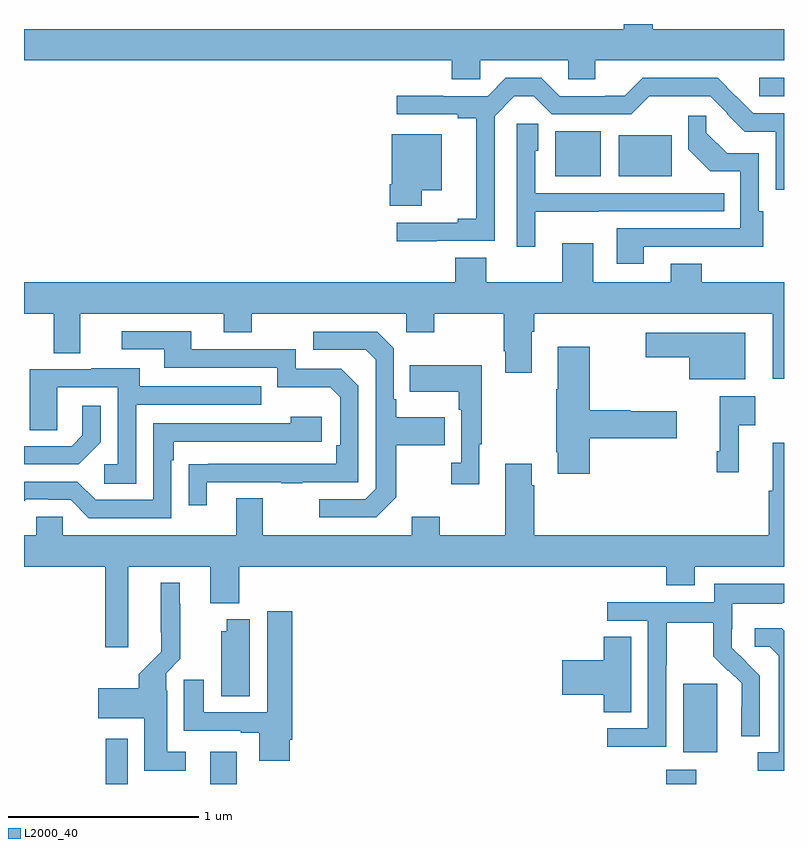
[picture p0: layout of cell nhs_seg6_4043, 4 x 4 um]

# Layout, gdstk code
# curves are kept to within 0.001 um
import gdstk
lib = gdstk.Library(unit=1e-6, precision=1e-09)
def R(c, l, rs):  # rectangles x0, y0, x1, y1
    for r in rs: c.add(gdstk.rectangle(r[:2], r[2:], *l))
def P(c, l, *ps):  # polygons
    for p in ps: c.add(gdstk.Polygon(p, *l))
L2000_40 = (2000, 40)

nhs_seg6_4043 = lib.new_cell('nhs_seg6_4043')
R(nhs_seg6_4043, L2000_40, [(349.429,971.5,349.545,971.737), (349.979,971.5,350.119,971.671), (352.379,971.5,352.539,971.575), (352.469,971.666,352.648,972.027), (351.797,974.699,352.036,974.935), (352.13,974.699,352.408,974.914), (352.869,975.12,353,975.216)])
P(nhs_seg6_4043, L2000_40, [(351.402,975.308),(351.864,975.308),(351.864,975.21),(352.006,975.21),(352.006,975.308),(353,975.308),(353,975.472),(352.309,975.472),(352.309,975.5),(352.157,975.5),(352.157,975.472),(349,975.472),(349,975.308),(351.251,975.308),(351.251,975.21),(351.402,975.21)],
  [(351.173,974.358),(351.477,974.358),(351.477,975.015),(351.581,975.119),(351.682,975.119),(351.777,975.024),(352.197,975.024),(352.292,975.119),(352.611,975.12),(352.701,975.03),(352.699,975.028),(352.793,974.934),(352.956,974.934),(352.956,974.628),(353,974.628),(353,975.03),(352.839,975.03),(352.651,975.216),(352.257,975.216),(352.163,975.122),(352.058,975.122),(352.058,975.12),(351.819,975.12),(351.723,975.216),(351.536,975.216),(351.44,975.12),(351.207,975.12),(351.207,975.122),(350.961,975.122),(350.961,975.024),(351.284,975.024),(351.284,975.004),(351.38,975.004),(351.38,974.474),(351.284,974.474),(351.284,974.454),(350.961,974.454),(350.961,974.357)],
  [(352.261,974.328),(352.891,974.327),(352.891,974.514),(352.866,974.514),(352.866,974.82),(352.7,974.82),(352.592,974.928),(352.592,975.016),(352.497,975.016),(352.497,974.84),(352.613,974.724),(352.77,974.724),(352.77,974.424),(352.121,974.424),(352.121,974.238),(352.261,974.238)],
  [(351.691,974.513),(352.025,974.513),(352.025,974.514),(352.685,974.514),(352.685,974.61),(351.69,974.61),(351.69,974.832),(351.706,974.832),(351.706,974.975),(351.594,974.975),(351.594,974.328),(351.691,974.328)],
  [(351.094,974.624),(351.199,974.624),(351.199,974.92),(350.936,974.92),(350.936,974.656),(350.924,974.656),(350.924,974.544),(351.094,974.544)],
  [(353,974.14),(352.567,974.14),(352.567,974.239),(352.403,974.239),(352.403,974.14),(351.997,974.14),(351.997,974.347),(351.833,974.347),(351.833,974.14),(351.433,974.14),(351.433,974.269),(351.269,974.269),(351.269,974.14),(349,974.14),(349,973.976),(349.157,973.976),(349.157,973.768),(349.297,973.768),(349.297,973.976),(350.051,973.976),(350.051,973.877),(350.199,973.877),(350.199,973.976),(351.012,973.976),(351.012,973.877),(351.159,973.877),(351.159,973.976),(351.526,973.976),(351.526,973.777),(351.533,973.777),(351.533,973.665),(351.673,973.665),(351.673,973.88),(351.686,973.88),(351.686,973.976),(352.94,973.976),(352.94,973.632),(353,973.632)],
  [(349.963,973.089),(350.353,973.089),(350.353,973.084),(350.465,973.084),(350.465,973.089),(350.76,973.089),(350.76,973.596),(350.67,973.686),(350.43,973.686),(350.43,973.788),(349.879,973.788),(349.879,973.884),(349.515,973.884),(349.515,973.788),(349.739,973.788),(349.739,973.692),(350.334,973.692),(350.334,973.589),(350.611,973.589),(350.664,973.536),(350.664,973.282),(350.644,973.282),(350.644,973.185),(349.867,973.184),(349.867,972.966),(349.963,972.966)],
  [(350.959,973.009),(350.959,973.282),(351.215,973.282),(351.215,973.429),(350.959,973.429),(350.959,973.525),(350.946,973.525),(350.946,973.794),(350.859,973.881),(350.523,973.881),(350.523,973.785),(350.799,973.785),(350.85,973.734),(350.85,973.053),(350.796,972.999),(350.553,972.999),(350.553,972.903),(350.853,972.903)],
  [(352.795,973.876),(352.272,973.876),(352.272,973.747),(352.502,973.747),(352.502,973.631),(352.795,973.631)],
  [(351.977,973.319),(352.435,973.319),(352.435,973.461),(352.191,973.461),(352.191,973.466),(351.977,973.466),(351.977,973.801),(351.809,973.801),(351.809,973.577),(351.802,973.577),(351.802,973.246),(351.809,973.246),(351.809,973.134),(351.977,973.134)],
  [(351.397,973.289),(351.409,973.289),(351.409,973.705),(351.031,973.705),(351.031,973.565),(351.288,973.565),(351.288,973.469),(351.3,973.469),(351.3,973.19),(351.249,973.19),(351.249,973.077),(351.397,973.077)],
  [(349.59,973.497),(350.249,973.497),(350.249,973.593),(349.609,973.593),(349.609,973.687),(349.355,973.687),(349.355,973.683),(349.031,973.683),(349.031,973.363),(349.176,973.363),(349.176,973.587),(349.494,973.587),(349.494,973.182),(349.422,973.182),(349.422,973.081),(349.59,973.081)],
  [(352.763,973.388),(352.849,973.388),(352.849,973.54),(352.663,973.54),(352.663,973.252),(352.645,973.252),(352.645,973.14),(352.763,973.14)],
  [(349.404,973.298),(349.404,973.492),(349.307,973.492),(349.307,973.335),(349.25,973.278),(349,973.278),(349,973.182),(349.288,973.182)],
  [(349.776,973.205),(349.789,973.205),(349.789,973.302),(350.566,973.302),(350.566,973.432),(350.405,973.432),(350.405,973.398),(349.68,973.398),(349.68,972.996),(349.377,972.996),(349.281,973.092),(349,973.092),(349,972.988),(349.011,972.999),(349.127,972.999),(349.127,972.996),(349.245,972.996),(349.341,972.9),(349.776,972.9)],
  [(349.549,972.644),(349.979,972.644),(349.979,972.452),(350.132,972.452),(350.132,972.644),(352.379,972.644),(352.379,972.545),(352.531,972.545),(352.531,972.644),(353,972.644),(353,973.297),(352.94,973.297),(352.94,973.044),(352.921,973.044),(352.921,972.808),(351.686,972.808),(351.686,973.073),(351.673,973.073),(351.673,973.186),(351.533,973.186),(351.533,972.808),(351.189,972.808),(351.189,972.907),(351.041,972.907),(351.041,972.808),(350.257,972.808),(350.257,973.003),(350.117,973.003),(350.117,972.808),(349.203,972.808),(349.203,972.906),(349.065,972.906),(349.065,972.808),(349,972.808),(349,972.644),(349.427,972.644),(349.427,972.219),(349.549,972.219)],
  [(349.852,971.671),(349.753,971.671),(349.753,971.99),(349.749,971.99),(349.749,972.084),(349.823,972.158),(349.823,972.449),(349.819,972.449),(349.819,972.559),(349.721,972.559),(349.722,972.196),(349.604,972.078),(349.604,972.004),(349.392,972.004),(349.392,971.846),(349.634,971.846),(349.634,971.57),(349.852,971.57)],
  [(352.38,972.124),(352.383,972.124),(352.383,972.348),(352.627,972.348),(352.627,972.173),(352.704,972.096),(352.707,972.099),(352.778,972.029),(352.778,971.906),(352.776,971.906),(352.776,971.752),(352.872,971.752),(352.872,972.07),(352.726,972.218),(352.726,972.315),(352.728,972.315),(352.728,972.449),(352.991,972.449),(352.991,972.453),(353,972.453),(353,972.553),(352.632,972.553),(352.632,972.456),(352.071,972.456),(352.071,972.36),(352.284,972.36),(352.284,971.793),(352.071,971.793),(352.071,971.695),(352.38,971.695)],
  [(350.398,971.734),(350.411,971.734),(350.411,972.409),(350.279,972.409),(350.279,971.877),(349.945,971.877),(349.945,972.049),(349.841,972.049),(349.841,971.781),(350.141,971.781),(350.141,971.769),(350.237,971.769),(350.237,971.622),(350.398,971.622)],
  [(350.188,972.367),(350.066,972.367),(350.066,972.303),(350.039,972.303),(350.039,971.962),(350.188,971.962)],
  [(353,972.307),(352.988,972.319),(352.845,972.319),(352.845,972.222),(352.926,972.222),(352.973,972.175),(352.973,971.667),(352.863,971.667),(352.863,971.571),(353,971.571)],
  [(352.195,972.275),(352.052,972.275),(352.052,972.152),(351.834,972.152),(351.834,971.969),(352.052,971.969),(352.052,971.878),(352.195,971.878)])

lib.write_gds('nhs_seg6_4043.gds')
